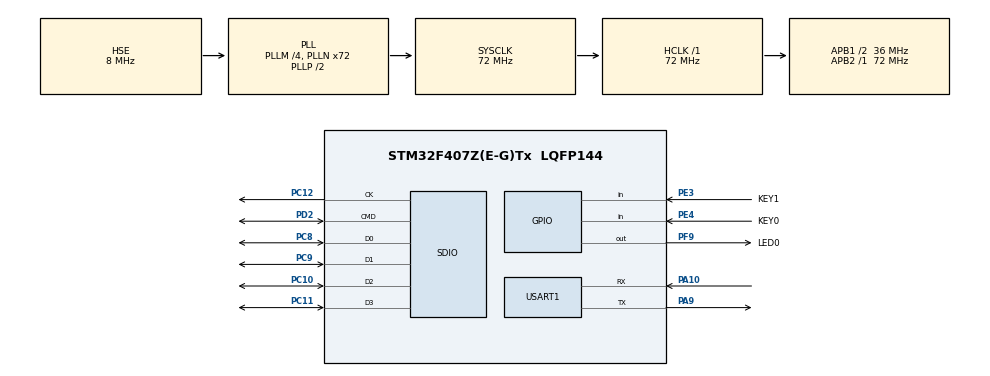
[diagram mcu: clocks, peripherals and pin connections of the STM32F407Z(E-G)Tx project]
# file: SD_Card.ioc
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Mcu.Family=STM32F4
Mcu.Name=STM32F407Z(E-G)Tx
Mcu.Package=LQFP144
NVIC.PriorityGroup=NVIC_PRIORITYGROUP_4
PA10.Mode=Asynchronous
PA10.Signal=USART1_RX
PA9.Mode=Asynchronous
PA9.Signal=USART1_TX
PC10.Mode=SD_4_bits_Wide_bus
PC10.Signal=SDIO_D2
PC11.Mode=SD_4_bits_Wide_bus
PC11.Signal=SDIO_D3
PC12.Mode=SD_4_bits_Wide_bus
PC12.Signal=SDIO_CK
PC14-OSC32_IN.Mode=LSE-External-Oscillator
PC14-OSC32_IN.Signal=RCC_OSC32_IN
PC15-OSC32_OUT.Mode=LSE-External-Oscillator
PC15-OSC32_OUT.Signal=RCC_OSC32_OUT
PC8.Mode=SD_4_bits_Wide_bus
PC8.Signal=SDIO_D0
PC9.Mode=SD_4_bits_Wide_bus
PC9.Signal=SDIO_D1
PD2.Mode=SD_4_bits_Wide_bus
PD2.Signal=SDIO_CMD
PE3.GPIO_Label=KEY1
PE3.GPIO_PuPd=GPIO_PULLUP
PE3.Signal=GPIO_Input
PE4.GPIO_Label=KEY0
PE4.GPIO_PuPd=GPIO_PULLUP
PE4.Signal=GPIO_Input
PF9.GPIO_Label=LED0
PF9.Signal=GPIO_Output
PH0-OSC_IN.Mode=HSE-External-Oscillator
PH0-OSC_IN.Signal=RCC_OSC_IN
PH1-OSC_OUT.Mode=HSE-External-Oscillator
PH1-OSC_OUT.Signal=RCC_OSC_OUT
ProjectManager.HeapSize=0x200
ProjectManager.StackSize=0x400
ProjectManager.TargetToolchain=MDK-ARM V5
RCC.48MHZClocksFreq_Value=48000000
RCC.AHBFreq_Value=72000000
RCC.APB1CLKDivider=RCC_HCLK_DIV2
RCC.APB1Freq_Value=36000000
RCC.APB1TimFreq_Value=72000000
RCC.APB2Freq_Value=72000000
RCC.APB2TimFreq_Value=72000000
RCC.CortexFreq_Value=72000000
RCC.HCLKFreq_Value=72000000
RCC.HSE_VALUE=8000000
RCC.HSI_VALUE=16000000
RCC.PLLM=4
RCC.PLLN=72
RCC.PLLQ=3
RCC.PLLSourceVirtual=RCC_PLLSOURCE_HSE
RCC.SYSCLKFreq_VALUE=72000000
RCC.SYSCLKSource=RCC_SYSCLKSOURCE_PLLCLK
RCC.VCOOutputFreq_Value=144000000
SDIO.ClockDiv=0
USART1.VirtualMode=VM_ASYNC
board=custom

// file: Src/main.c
/* USER CODE BEGIN Header */
/**
  ******************************************************************************
  * @file           : main.c
  * @brief          : Main program body
  ******************************************************************************
  * @attention
  *
  * <h2><center>&copy; Copyright (c) 2020 STMicroelectronics.
  * All rights reserved.</center></h2>
  *
  * This software component is licensed by ST under BSD 3-Clause license,
  * the "License"; You may not use this file except in compliance with the
  * License. You may obtain a copy of the License at:
  *                        opensource.org/licenses/BSD-3-Clause
  *
  ******************************************************************************
  */
/* USER CODE END Header */

#include "main.h"
#include "sdio.h"
#include "usart.h"
#include "gpio.h"

/* USER CODE BEGIN Includes */
#include "key.h"
#include "malloc.h"
#include "sdio_sdcard.h"

#include "malloc.h"
#include "malloc.h"
#include "ff.h"
#include "exfuns.h"
#include "fattester.h"
/* USER CODE END Includes */

void SystemClock_Config(void);

int main(void)
{
  /* USER CODE BEGIN 1 */
  u8 key=0;
	u16 i=0;
	u32 sd_size;
	u8 t=0;
	u8 *buf;
	uint64_t CardCap;				//SD卡容量
  /* USER CODE END 1 */

  /* MCU Configuration--------------------------------------------------------*/

  /* Reset of all peripherals, Initializes the Flash interface and the Systick. */
  HAL_Init();

  /* Configure the system clock */
  SystemClock_Config();

  /* Initialize all configured peripherals */
  MX_GPIO_Init();
  MX_SDIO_SD_Init();
  MX_USART1_UART_Init();
  /* USER CODE BEGIN 2 */
  SD_Init();
	my_mem_init(SRAMIN);		//初始化内部内存池
	my_mem_init(SRAMCCM);		//初始化CCM内存池
	exfuns_init();							//为fatfs相关变量申请内存
  f_mount(fs[0],"0:",1); 					//挂载SD卡
  /* USER CODE END 2 */

  /* Infinite loop */
  while (1)
  {

    /* USER CODE BEGIN 3 */
		key=KEY_Scan(0);
		if(key==KEY0_PRES)
    {
				mf_scan_files("0:");
		}
		i++;
		HAL_Delay(10);
		if(i==20)
		{
			HAL_GPIO_TogglePin(LED0_GPIO_Port,LED0_Pin);//提示系统正在运行
			i=0;
		}
  }
  /* USER CODE END 3 */
}

void SystemClock_Config(void)
{
  RCC_OscInitTypeDef RCC_OscInitStruct = {0};
  RCC_ClkInitTypeDef RCC_ClkInitStruct = {0};

  /** Configure the main internal regulator output voltage
  */
  __HAL_RCC_PWR_CLK_ENABLE();
  __HAL_PWR_VOLTAGESCALING_CONFIG(PWR_REGULATOR_VOLTAGE_SCALE1);
  /** Initializes the CPU, AHB and APB busses clocks
  */
  RCC_OscInitStruct.OscillatorType = RCC_OSCILLATORTYPE_HSE;
  RCC_OscInitStruct.HSEState = RCC_HSE_ON;
  RCC_OscInitStruct.PLL.PLLState = RCC_PLL_ON;
  RCC_OscInitStruct.PLL.PLLSource = RCC_PLLSOURCE_HSE;
  RCC_OscInitStruct.PLL.PLLM = 4;
  RCC_OscInitStruct.PLL.PLLN = 72;
  RCC_OscInitStruct.PLL.PLLP = RCC_PLLP_DIV2;
  RCC_OscInitStruct.PLL.PLLQ = 3;
  if (HAL_RCC_OscConfig(&RCC_OscInitStruct) != HAL_OK)
  {
    Error_Handler();
  }
  /** Initializes the CPU, AHB and APB busses clocks
  */
  RCC_ClkInitStruct.ClockType = RCC_CLOCKTYPE_HCLK|RCC_CLOCKTYPE_SYSCLK
                              |RCC_CLOCKTYPE_PCLK1|RCC_CLOCKTYPE_PCLK2;
  RCC_ClkInitStruct.SYSCLKSource = RCC_SYSCLKSOURCE_PLLCLK;
  RCC_ClkInitStruct.AHBCLKDivider = RCC_SYSCLK_DIV1;
  RCC_ClkInitStruct.APB1CLKDivider = RCC_HCLK_DIV2;
  RCC_ClkInitStruct.APB2CLKDivider = RCC_HCLK_DIV1;

  if (HAL_RCC_ClockConfig(&RCC_ClkInitStruct, FLASH_LATENCY_2) != HAL_OK)
  {
    Error_Handler();
  }
}

void Error_Handler(void)
{
}

/************************ (C) COPYRIGHT STMicroelectronics *****END OF FILE****/
